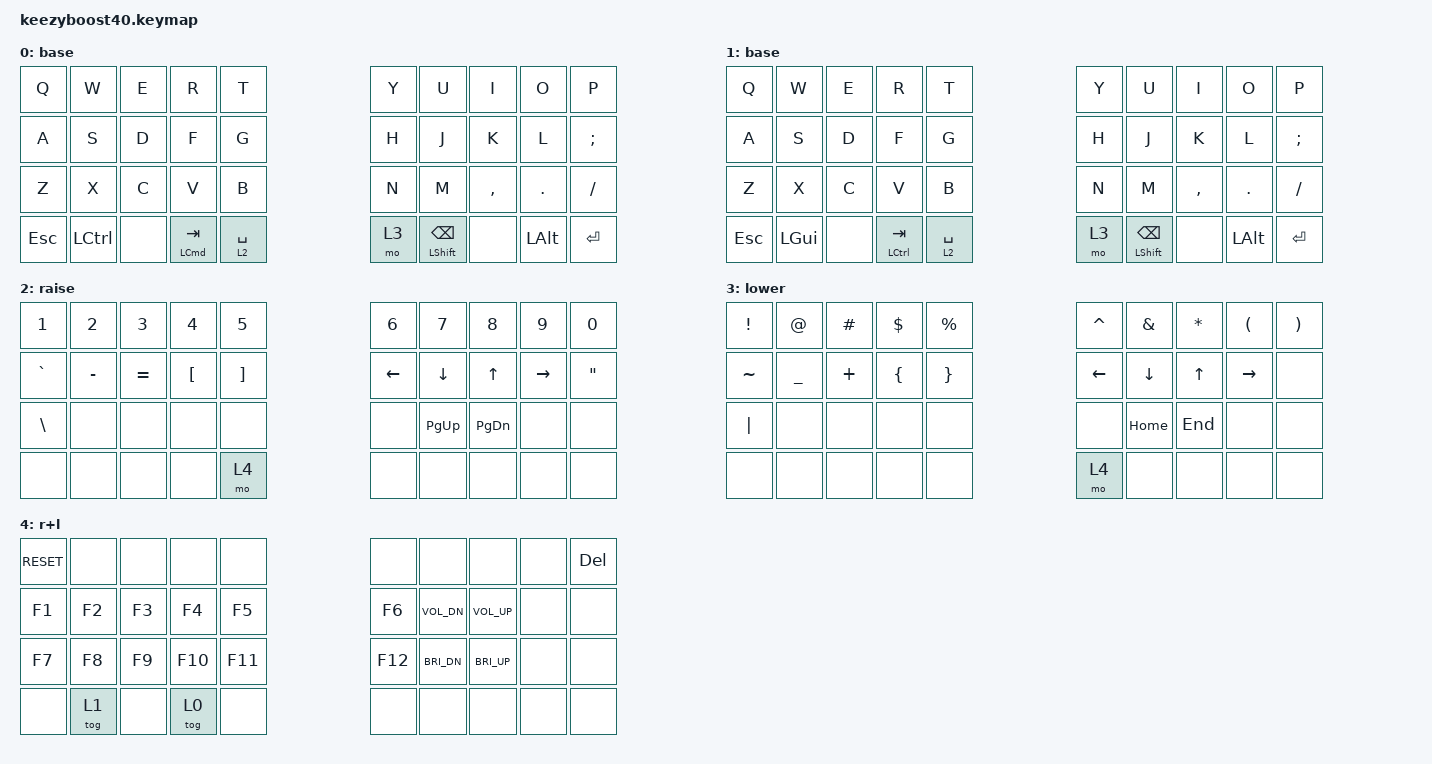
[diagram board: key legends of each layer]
/*
 * Uses the TypeBeastXD+ Home Edition layout by ChrisChrisLoLo
 *      with a couple of minor additions (brightness controls)
 * Source: https://github.com/ChrisChrisLoLo/TypeBeastXDPlus
 */

#include <behaviors.dtsi>
#include <dt-bindings/zmk/keys.h>

&lt {
    quick_tap_ms = <200>;
};

/ {
	combos {
		compatible = "zmk,combos";

		boot {
			bindings = <&bootloader>;
			key-positions = <0 9>;
			layers = <0>;
		};
	};

    keymap {
        compatible = "zmk,keymap";

        /** 0: Base (MacOS) Layer */
        macos {
        // ------------------------------------------------------------------------------------------
        //           |   Q   |  W    |   E   |   R   |  T   |  Y   |  U    |  I    |  O   |   P   |
        //           |   A   |  S    |   D   |   F   |  G   |  H   |  J    |  K    |  L   |   ;   |
        //           |   Z   |  X    |   C   |   V   |  B   |  N   |  M    |  ,    |  .   |   /   |
        //    (HOLD) |       |       |       | LCMD  | SPCE |      | BKSP  |       |      |       |
        //     (TAP) | ESC   | LCTRL |       | TAB   | LOWR | RAIS | LSHFT |       | LALT | ENTR  |

            display-name = "base";
            label = "Base (Mac) Layer";
            bindings = <
&kp Q        &kp W      &kp E       &kp R          &kp T            &kp Y            &kp U           &kp I         &kp O      &kp P
&kp A        &kp S      &kp D       &kp F          &kp G            &kp H            &kp J           &kp K         &kp L      &kp SEMI
&kp Z        &kp X      &kp C       &kp V          &kp B            &kp N            &kp M           &kp COMMA     &kp DOT    &kp FSLH
&kp ESC      &kp LCTRL  &none       &mt LCMD TAB   &lt 2 SPACE      &mo 3            &mt LSHFT BKSP  &none         &kp LALT   &kp RET
            >;
        };

        /** 1: Base (Windows) Layer */
        windows {
        // ------------------------------------------------------------------------------------------
        //           |   Q   |   W   |   E   |   R   |  T   |  Y   |   U   |   I   |  O   |   P   |
        //           |   A   |   S   |   D   |   F   |  G   |  H   |   J   |   K   |  L   |   ;   |
        //           |   Z   |   X   |   C   |   V   |  B   |  N   |   M   |   ,   |  .   |   /   |
        //    (HOLD) |       |       |       | LCTRL | SPCE |      | BKSP  |       |      |       |
        //     (TAP) | ESC   | LGUI  |       | TAB   | LOWR | RAIS | LSHFT |       | LALT | ENTR  |

            display-name = "base";
            label = "Base (Win) Layer";
            bindings = <
&kp Q        &kp W      &kp E       &kp R          &kp T            &kp Y            &kp U           &kp I         &kp O      &kp P
&kp A        &kp S      &kp D       &kp F          &kp G            &kp H            &kp J           &kp K         &kp L      &kp SEMI
&kp Z        &kp X      &kp C       &kp V          &kp B            &kp N            &kp M           &kp COMMA     &kp DOT    &kp FSLH
&kp ESC      &kp LGUI   &none       &mt LCTRL TAB  &lt 2 SPACE      &mo 3            &mt LSHFT BKSP  &none         &kp LALT   &kp RET
            >;
        };

        /** 2: Raise Layer */
        raise {
        // ------------------------------------------------------------------------------------------
        //           |   1   |  2    |   3   |   4   |  5   |   6  |   7   |   8   |  9   |   0   |
        //           |   `   |  -    |   =   |   [   |  ]   | LEFT | DOWN  |  UP   | RGHT |   "   |
        //           |   \   |       |       |       |      |      | PG_DN | PG_UP |      |       |
        //           |       |       |       |       | R+L  |      |       |       |      |       |

            display-name = "raise";
            label = "Raise Layer";
            bindings = <
&kp N1       &kp N2     &kp N3      &kp N4         &kp N5           &kp N6           &kp N7          &kp N8        &kp N9     &kp N0
&kp GRAVE    &kp MINUS  &kp EQUAL   &kp LBKT       &kp RBKT         &kp LEFT         &kp DOWN        &kp UP        &kp RIGHT  &kp DQT
&kp BSLH     &none      &none       &none          &none            &none            &kp PG_UP       &kp PG_DN     &none      &none
&none        &none      &none       &none          &mo 4  			&none            &none           &none         &none      &none
            >;
        };

        /** 3: Lower Layer */
        lower {
        // ------------------------------------------------------------------------------------------
        //           |  !    |  @    |   #   |  $    |  %   |   ^  |  &    |  *    |  (   |   )   |
        //           |  ~    |  _    |   +   |  {    |  }   | LEFT | DOWN  |  UP   | RGHT |       |
        //           |  |    |       |       |       |      |      | PG_DN | PG_UP |      |       |
        //           |       |       |       | R+L   |      |      |       |       |      |       |

            display-name = "lower";
            label = "Lower Layer";
            bindings = <
&kp EXCL     &kp AT     &kp HASH    &kp DLLR       &kp PRCNT        &kp CARET        &kp AMPS        &kp STAR      &kp LPAR    &kp RPAR
&kp TILDE    &kp UNDER  &kp PLUS    &kp LBRC       &kp RBRC         &kp LEFT         &kp DOWN        &kp UP        &kp RIGHT   &none
&kp PIPE     &none      &none       &none          &none            &none            &kp HOME        &kp END       &none       &none
&none        &none      &none       &none          &none            &mo 4            &none           &none         &none       &none
            >;
        };

        /** 4: Raise + Lower Layer */
        raise_lower {
        // ------------------------------------------------------------------------------------------
        //           | RESET |       |       |       |      |      |       |       |      |  DEL  |
        //           |  F1   |  F2   |  F3   |  F4   | F5   |  F6  | VOL-  | VOL+  |      |       |
        //           |  F7   |  F1   |  F9   |  F10  | F11  | F12  | BRI-  | BRI+  |      |       |
        // (OS SWAP) | *WIN* |       | *MAC* |       |      |      |       |       |      |       |

            display-name = "r+l";
            label = "Raise + Lower Layer";
            bindings = <
&kp C_RESET  &none      &none       &none          &none            &none            &none           &none         &none      &kp DEL
&kp F1       &kp F2     &kp F3      &kp F4         &kp F5           &kp F6           &kp K_VOL_DN    &kp K_VOL_UP  &none      &none
&kp F7       &kp F8     &kp F9      &kp F10        &kp F11          &kp F12          &kp C_BRI_DN    &kp C_BRI_UP  &none      &none
&none        &tog 1     &none       &tog 0         &none            &none            &none           &none         &none      &none
            >;
        };
    };
};
